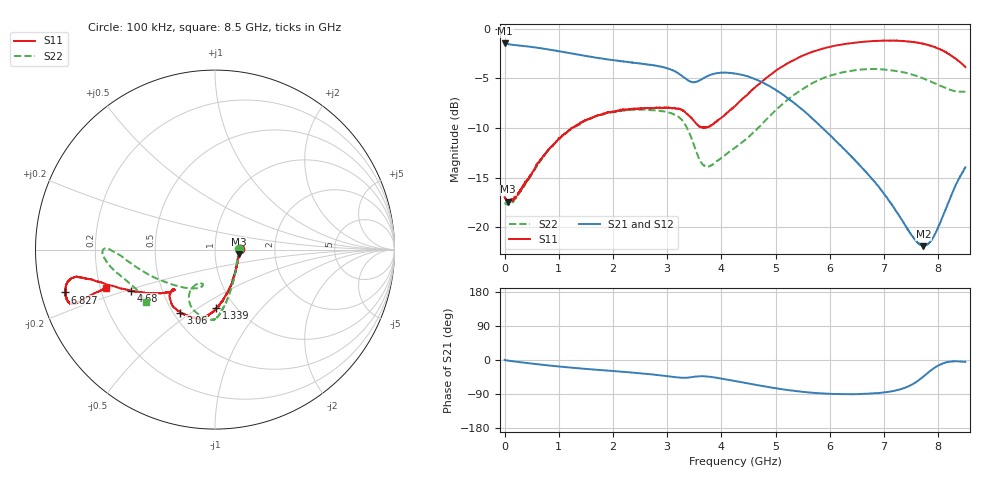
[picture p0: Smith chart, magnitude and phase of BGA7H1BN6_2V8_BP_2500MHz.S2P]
!Agilent Technologies,E5071C,MY46105553,A.09.30
!Date: Wed Sep 23 13:43:52 2015
!Data & Calibration Information:
!Freq	S11:SOLT2(ON)	S21:SOLT2(ON)	S12:SOLT2(ON)	S22:SOLT2(ON)
# Hz S dB R 50
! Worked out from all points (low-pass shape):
!   1601 points, 100 kHz to 8.5 GHz, reference 50 ohm
!   highest |S21| = -1.48 dB at 10.72 MHz (marker M1); lowest = -21.9 dB at 7.724 GHz (marker M2)
!   |S21| within 3 dB of the highest: start of sweep to 3.202 GHz; 3.907 GHz to 4.206 GHz (299 MHz wide, 7.37 % of centre)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
!   lowest |S11| = -17.4 dB at 63.85 MHz (marker M3), VSWR 1.31, Z = 65.2 - j3.19 ohm
!   |S11| at or under -10 dB: start of sweep to 1.238 GHz; 1.238 GHz to 1.248 GHz (9.877 MHz wide, 0.795 % of centre)
!   |S22| runs from -17.7 to -4.1 dB; largest |S21 - S12| = 0.0048
!   S11 on the Smith chart (normalised r, x): 100 kHz: 1.33, +0.00; 1.339 GHz: 0.82, -0.60; 3.06 GHz: 0.54, -0.45; 4.68 GHz: 0.33, -0.21; 6.827 GHz: 0.07, -0.14; 8.5 GHz: 0.22, -0.16
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100000  -16.96 0.4  -1.48 0.2  -1.51 0.0  -17.61 0.4
1.072488e7  -17.07 -3.1  -1.48 -0.5  -1.52 -0.3  -17.58 -2.1
6.384925e7  -17.41 -10.3  -1.55 -1.7  -1.56 -1.6  -17.68 -9.8
2.338472e8  -16.72 -32.6  -1.68 -4.8  -1.68 -4.8  -16.85 -31.8
8.235278e8  -12.09 -73.7  -2.11 -14.5  -2.10 -14.5  -12.15 -69.8
1.338834e9  -9.70 -88.7  -2.59 -21.5  -2.58 -21.5  -9.75 -81.7
1.418521e9  -9.42 -90.3  -2.67 -22.6  -2.67 -22.5  -9.47 -83.1
2.0932e9  -8.27 -100.7  -3.22 -30.2  -3.23 -30.2  -8.30 -89.2
2.836942e9  -7.99 -112.6  -3.77 -39.9  -3.78 -39.9  -8.25 -96.6
3.060064e9  -7.96 -118.8  -4.10 -43.8  -4.10 -43.7  -8.49 -102.5
3.394748e9  -8.73 -133.6  -5.23 -46.2  -5.23 -46.3  -10.33 -118.5
3.692244e9  -9.93 -135.7  -4.91 -42.9  -4.92 -42.8  -13.81 -113.2
3.936616e9  -9.25 -136.6  -4.46 -47.6  -4.46 -47.6  -13.25 -109.4
4.25005e9  -7.80 -143.6  -4.52 -55.5  -4.51 -55.5  -11.98 -120.6
4.680357e9  -5.63 -154.1  -5.21 -66.7  -5.20 -66.6  -9.99 -143.7
5.668471e9  -2.35 -168.3  -9.01 -86.4  -9.00 -86.4  -5.51 -176.6
6.226277e9  -1.58 -168.0  -11.92 -90.2  -11.91 -90.3  -4.41 179.4
6.826582e9  -1.23 -164.0  -15.42 -88.0  -15.43 -87.6  -4.06 -178.2
7.086892e9  -1.20 -162.2  -17.28 -83.9  -17.32 -83.7  -4.16 -175.9
7.724384e9  -1.51 -158.9  -21.90 -43.9  -21.90 -43.8  -5.01 -166.7
7.915632e9  -1.81 -159.0  -20.93 -21.9  -20.96 -22.2  -5.45 -162.6
8.5e9  -3.85 -160.6  -13.95 -4.7  -13.97 -5.3  -6.34 -143.1
